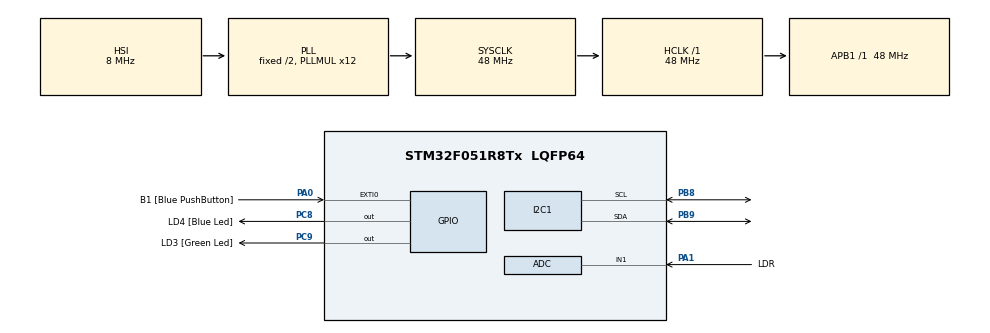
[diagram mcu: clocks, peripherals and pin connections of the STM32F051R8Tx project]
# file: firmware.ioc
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I2C1.Timing=0x00201D2B
Mcu.Family=STM32F0
Mcu.Name=STM32F051R8Tx
Mcu.Package=LQFP64
PA0.GPIO_Label=B1 [Blue PushButton]
PA0.GPIO_ModeDefaultEXTI=GPIO_MODE_EVT_RISING
PA0.Signal=GPXTI0
PA1.GPIO_Label=LDR
PA1.Mode=IN1
PA1.Signal=ADC_IN1
PA13.GPIO_Label=SWDIO
PA13.Mode=Serial_Wire
PA13.Signal=SYS_SWDIO
PA14.GPIO_Label=SWCLK
PA14.Mode=Serial_Wire
PA14.Signal=SYS_SWCLK
PB8.Mode=I2C
PB8.Signal=I2C1_SCL
PB9.Mode=I2C
PB9.Signal=I2C1_SDA
PC8.GPIO_Label=LD4 [Blue Led]
PC8.Signal=GPIO_Output
PC9.GPIO_Label=LD3 [Green Led]
PC9.Signal=GPIO_Output
ProjectManager.HeapSize=0x200
ProjectManager.StackSize=0x400
ProjectManager.TargetToolchain=CMake
RCC.AHBFreq_Value=48000000
RCC.APB1Freq_Value=48000000
RCC.APB1TimFreq_Value=48000000
RCC.HCLKFreq_Value=48000000
RCC.PLLMUL=RCC_PLL_MUL12
RCC.SYSCLKFreq_VALUE=48000000
RCC.SYSCLKSource=RCC_SYSCLKSOURCE_PLLCLK
board=STM32F0DISCOVERY

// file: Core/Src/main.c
/* USER CODE BEGIN Header */
/**
  ******************************************************************************
  * @file           : main.c
  * @brief          : Main program body
  ******************************************************************************
  * @attention
  *
  * Copyright (c) 2026 STMicroelectronics.
  * All rights reserved.
  *
  * This software is licensed under terms that can be found in the LICENSE file
  * in the root directory of this software component.
  * If no LICENSE file comes with this software, it is provided AS-IS.
  *
  ******************************************************************************
  */
/* USER CODE END Header */
#include "main.h"
#include "adc.h"
#include "i2c.h"
#include "gpio.h"
#include "ds3231.h"
#include "sh1106.h"
#include "dht11.h"
#include "ui.h"

#include <stdio.h>

/* USER CODE BEGIN PD */

#define BUZZER_PIN          GPIO_PIN_3
#define BUZZER_GPIO_PORT    GPIOA

#define BUTTON1_PIN         GPIO_PIN_0
#define BUTTON2_PIN         GPIO_PIN_1
#define BUTTON3_PIN         GPIO_PIN_2
#define BUTTON4_PIN         GPIO_PIN_3
#define BUTTONS_GPIO_PORT   GPIOB

/* USER CODE END PD */

/* USER CODE BEGIN PV */

// Raw 12-bit ADC reading from light-dependent resistor (LDR)
uint32_t adc_val = 0;

// I2C Scanner Storage (DEBUGGER CHECK)
uint8_t found_devices = 0;
uint8_t detected_addrs[10] = {0};

// Live decoded timestamp snapshot polled continuously from DS3231
DS3231_Time_t current_time;

// Storage for climate data
DHT11_Data_t climate_data = {0};
HAL_StatusTypeDef dht_status = HAL_ERROR;

// Current display contrast state to prevent redundant I2C bus traffic
uint8_t current_contrast = 0x80;

// Previous button states for falling-edge detection (1 = unpressed, 0 = pressed)
uint8_t prev_btn1 = 1;
uint8_t prev_btn2 = 1;
uint8_t prev_btn3 = 1;
uint8_t prev_btn4 = 1;

// Display sleep / screen-saver tracking
uint8_t is_sleeping = 0;
uint32_t dark_start_tick = 0;
#define SLEEP_TIMEOUT_MS  30000 // 30 seconds of darkness before sleep

/* USER CODE END PV */

void SystemClock_Config(void);

int main(void)
{

  /* MCU Configuration--------------------------------------------------------*/

  /* Reset of all peripherals, Initializes the Flash interface and the Systick. */
  HAL_Init();

  /* Configure the system clock */
  SystemClock_Config();

  /* Initialize all configured peripherals */
  MX_GPIO_Init();
  MX_ADC_Init();
  MX_I2C1_Init();
  /* USER CODE BEGIN 2 */

  // Enable GPIOA & GPIOB clocks
  __HAL_RCC_GPIOA_CLK_ENABLE();
  __HAL_RCC_GPIOB_CLK_ENABLE();

  // Configure PA3 as push-pull output
  GPIO_InitTypeDef GPIO_InitStruct = {0};
  GPIO_InitStruct.Pin = BUZZER_PIN;
  GPIO_InitStruct.Mode = GPIO_MODE_OUTPUT_PP;
  GPIO_InitStruct.Pull = GPIO_NOPULL;
  GPIO_InitStruct.Speed = GPIO_SPEED_FREQ_LOW;
  HAL_GPIO_Init(BUZZER_GPIO_PORT, &GPIO_InitStruct);

  // Configure PB0-PB3 as digital inputs with internal pull-ups
  GPIO_InitStruct.Pin = BUTTON1_PIN | BUTTON2_PIN | BUTTON3_PIN | BUTTON4_PIN;
  GPIO_InitStruct.Mode = GPIO_MODE_INPUT;
  GPIO_InitStruct.Pull = GPIO_PULLUP;
  HAL_GPIO_Init(BUTTONS_GPIO_PORT, &GPIO_InitStruct);

  // Calibrate ADC1
  HAL_ADCEx_Calibration_Start(&hadc);

  // Scan 7-bit addresses 1 through 127
  for (uint16_t addr = 1; addr < 128; addr++)
  {
    // HAL expects 7-bit addresses shifted left by 1
    if (HAL_I2C_IsDeviceReady(&hi2c1, (uint16_t)(addr << 1), 2, 10) == HAL_OK)
    {
      if (found_devices < 10)
      {
        detected_addrs[found_devices++] = (uint8_t)addr;
      }
    }
  }

  // Visual Pass/Fail Indication
  // If at least 2 devices ACK (OLED and RTC), blink PC9 (Green LED) 5 times rapidly
  // If fewer than 2 devices reply, toggle PC8 (Blue LED) rapidly as a warning
  if (found_devices >= 2)
  {
    for (int i = 0; i < 5; i++)
    {
      HAL_GPIO_WritePin(GPIOC, GPIO_PIN_9, GPIO_PIN_SET);
      HAL_Delay(80);
      HAL_GPIO_WritePin(GPIOC, GPIO_PIN_9, GPIO_PIN_RESET);
      HAL_Delay(80);
    }
  }
  else
  {
    for (int i = 0; i < 10; i++)
    {
      HAL_GPIO_WritePin(GPIOC, GPIO_PIN_8, GPIO_PIN_SET);
      HAL_Delay(50);
      HAL_GPIO_WritePin(GPIOC, GPIO_PIN_8, GPIO_PIN_RESET);
      HAL_Delay(50);
    }
  }

  // Initialize OLED
    SH1106_Init(&hi2c1);
    SH1106_Clear();
    SH1106_UpdateScreen(&hi2c1);

  // Initialize DHT11 pin
    DHT11_Init();

  // Initialize UI module
    UI_Init(&hi2c1);

  /* USER CODE END 2 */

  /* Infinite loop */
  /* USER CODE BEGIN WHILE */
  int8_t last_second = -1;

  while (1)
  {
    // Button Sampling & Edge Detection
    // Read raw levels (active-low: 0 = pressed, 1 = released)
    uint8_t raw_btn1 = HAL_GPIO_ReadPin(BUTTONS_GPIO_PORT, BUTTON1_PIN);
    uint8_t raw_btn2 = HAL_GPIO_ReadPin(BUTTONS_GPIO_PORT, BUTTON2_PIN);
    uint8_t raw_btn3 = HAL_GPIO_ReadPin(BUTTONS_GPIO_PORT, BUTTON3_PIN);
    uint8_t raw_btn4 = HAL_GPIO_ReadPin(BUTTONS_GPIO_PORT, BUTTON4_PIN);

    // Falling-edge detection: was HIGH (1), now LOW (0)
    uint8_t btn1_pressed = (prev_btn1 == GPIO_PIN_SET && raw_btn1 == GPIO_PIN_RESET);
    uint8_t btn2_pressed = (prev_btn2 == GPIO_PIN_SET && raw_btn2 == GPIO_PIN_RESET);
    uint8_t btn3_pressed = (prev_btn3 == GPIO_PIN_SET && raw_btn3 == GPIO_PIN_RESET);
    uint8_t btn4_pressed = (prev_btn4 == GPIO_PIN_SET && raw_btn4 == GPIO_PIN_RESET);

    // Store history for next cycle
    prev_btn1 = raw_btn1;
    prev_btn2 = raw_btn2;
    prev_btn3 = raw_btn3;
    prev_btn4 = raw_btn4;

    // Detects button press to wake up and flash screen
    uint8_t any_button_pressed = (btn1_pressed || btn2_pressed || btn3_pressed || btn4_pressed);

    // If sleeping and a button was pressed, wake up and ignore menu action for this click
    if (is_sleeping && any_button_pressed)
    {
      is_sleeping = 0;
      SH1106_SetSleep(&hi2c1, 0);
      dark_start_tick = HAL_GetTick(); // Reset dark timer
    }
    else if (!is_sleeping)
    {
      // Send button events to UI state machine normally
      UI_ProcessButtons(btn1_pressed, btn2_pressed, btn3_pressed, btn4_pressed);
    }

    // Telemetry and Alarm Evaluation
    if (UI_GetState() == UI_STATE_CLOCK)
    {
      DS3231_GetTime(&hi2c1, &current_time);

      // Check if alarm time matched
      UI_CheckAlarm(&current_time);

      if (current_time.seconds != last_second)
      {
        last_second = current_time.seconds;

        if (current_time.seconds % 2 == 0)
        {
          dht_status = DHT11_Read(&climate_data);
        }
      }
    }

    // Automatic wake if alarm just fired while asleep
    if (is_sleeping && UI_IsAlarmTriggered())
    {
      is_sleeping = 0;
      SH1106_SetSleep(&hi2c1, 0);
      dark_start_tick = HAL_GetTick();
    }

    // Service non-blocking buzzer
    UI_ServiceAlarmBuzzer();

    // Ambient Light & Dynamic Display Contrast
    HAL_ADC_Start(&hadc);
    if (HAL_ADC_PollForConversion(&hadc, 10) == HAL_OK)
    {
      adc_val = HAL_ADC_GetValue(&hadc);
    }
    HAL_ADC_Stop(&hadc);

    if (adc_val < 800)
    {
      // Tracks how long darkness persists
      if (dark_start_tick == 0)
      {
        dark_start_tick = HAL_GetTick();
      }
      else if (!is_sleeping && (HAL_GetTick() - dark_start_tick >= SLEEP_TIMEOUT_MS))
      {
        // Dark threshold exceeded; display enters deep sleep
        is_sleeping = 1;
        SH1106_SetSleep(&hi2c1, 1);
      }
    }
      else
      {
        // Room has light; reset timer and display wakes up if asleep
        dark_start_tick = 0;
        if (is_sleeping)
        {
          is_sleeping = 0;
          SH1106_SetSleep(&hi2c1, 0);
        }
      }

    // Map 12-bit ADC (0 to 4095) into 3 discrete contrast tiers
  if (!is_sleeping)
  {
    uint8_t target_contrast;
    if (adc_val < 800)
    {
      target_contrast = 0x00;
    }
    else if (adc_val < 2200)
    {
      target_contrast = 0x50;
    }
    else
    {
      target_contrast = 0xFF;
    }

    // Only transmit over I2C if the tier actually changed
    if (target_contrast != current_contrast)
    {
      current_contrast = target_contrast;
      SH1106_SetContrast(&hi2c1, current_contrast);
    }
  }

    // Render Active Screen (only when display is awake)
    if (!is_sleeping)
    {
    UI_Update(&current_time, &climate_data, dht_status);
    }

    // Fast responsive polling delay for tactile debounce
    HAL_Delay(20);

    /* USER CODE END WHILE */

  }
}

void SystemClock_Config(void)
{
  RCC_OscInitTypeDef RCC_OscInitStruct = {0};
  RCC_ClkInitTypeDef RCC_ClkInitStruct = {0};
  RCC_PeriphCLKInitTypeDef PeriphClkInit = {0};

  /** Initializes the RCC Oscillators according to the specified parameters
  * in the RCC_OscInitTypeDef structure.
  */
  RCC_OscInitStruct.OscillatorType = RCC_OSCILLATORTYPE_HSI|RCC_OSCILLATORTYPE_HSI14;
  RCC_OscInitStruct.HSIState = RCC_HSI_ON;
  RCC_OscInitStruct.HSI14State = RCC_HSI14_ON;
  RCC_OscInitStruct.HSICalibrationValue = RCC_HSICALIBRATION_DEFAULT;
  RCC_OscInitStruct.HSI14CalibrationValue = 16;
  RCC_OscInitStruct.PLL.PLLState = RCC_PLL_ON;
  RCC_OscInitStruct.PLL.PLLSource = RCC_PLLSOURCE_HSI;
  RCC_OscInitStruct.PLL.PLLMUL = RCC_PLL_MUL12;
  RCC_OscInitStruct.PLL.PREDIV = RCC_PREDIV_DIV1;
  if (HAL_RCC_OscConfig(&RCC_OscInitStruct) != HAL_OK)
  {
    Error_Handler();
  }

  /** Initializes the CPU, AHB and APB buses clocks
  */
  RCC_ClkInitStruct.ClockType = RCC_CLOCKTYPE_HCLK|RCC_CLOCKTYPE_SYSCLK
                              |RCC_CLOCKTYPE_PCLK1;
  RCC_ClkInitStruct.SYSCLKSource = RCC_SYSCLKSOURCE_PLLCLK;
  RCC_ClkInitStruct.AHBCLKDivider = RCC_SYSCLK_DIV1;
  RCC_ClkInitStruct.APB1CLKDivider = RCC_HCLK_DIV1;

  if (HAL_RCC_ClockConfig(&RCC_ClkInitStruct, FLASH_LATENCY_1) != HAL_OK)
  {
    Error_Handler();
  }
  PeriphClkInit.PeriphClockSelection = RCC_PERIPHCLK_I2C1;
  PeriphClkInit.I2c1ClockSelection = RCC_I2C1CLKSOURCE_HSI;
  if (HAL_RCCEx_PeriphCLKConfig(&PeriphClkInit) != HAL_OK)
  {
    Error_Handler();
  }
}

void Error_Handler(void)
{
  __disable_irq();
  while (1)
  {
  }
}
